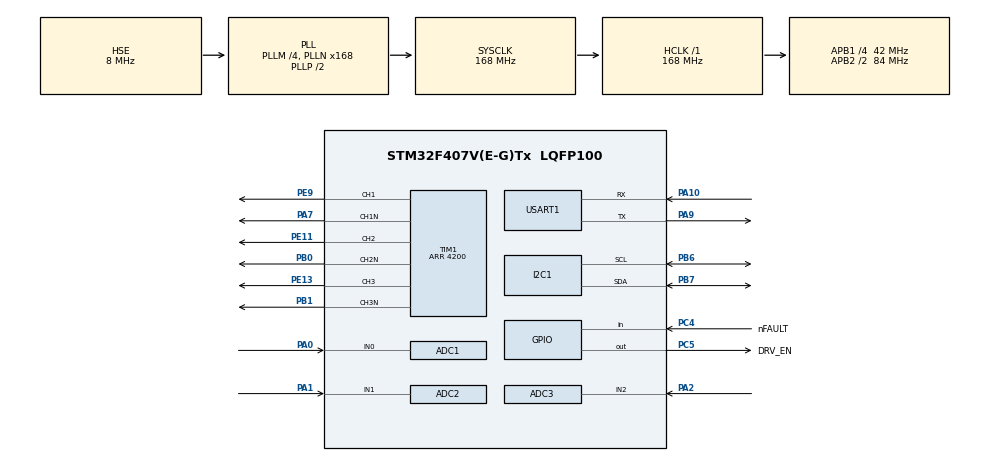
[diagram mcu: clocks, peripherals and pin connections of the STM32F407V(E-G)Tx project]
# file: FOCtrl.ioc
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ADC1.Channel-0\#ChannelRegularConversion=ADC_CHANNEL_0
ADC1.Channel-1\#ChannelInjectedConversion=ADC_CHANNEL_0
ADC1.ExternalTrigInjecConv=ADC_EXTERNALTRIGINJECCONV_T1_CC4
ADC1.InjNumberOfConversion=1
ADC1.InjectedOffset-1\#ChannelInjectedConversion=0
ADC1.InjectedRank-1\#ChannelInjectedConversion=1
ADC1.Mode=ADC_TRIPLEMODE_INJECSIMULT
ADC1.NbrOfConversionFlag=1
ADC1.Rank-0\#ChannelRegularConversion=1
ADC1.SamplingTime-0\#ChannelRegularConversion=ADC_SAMPLETIME_3CYCLES
ADC1.SamplingTime-1\#ChannelInjectedConversion=ADC_SAMPLETIME_15CYCLES
ADC1.master=1
ADC2.Channel-0\#ChannelRegularConversion=ADC_CHANNEL_1
ADC2.Channel-1\#ChannelInjectedConversion=ADC_CHANNEL_1
ADC2.InjNumberOfConversion=1
ADC2.InjectedOffset-1\#ChannelInjectedConversion=0
ADC2.InjectedRank-1\#ChannelInjectedConversion=1
ADC2.Mode=ADC_TRIPLEMODE_INJECSIMULT
ADC2.NbrOfConversionFlag=1
ADC2.Rank-0\#ChannelRegularConversion=1
ADC2.SamplingTime-0\#ChannelRegularConversion=ADC_SAMPLETIME_3CYCLES
ADC2.SamplingTime-1\#ChannelInjectedConversion=ADC_SAMPLETIME_15CYCLES
ADC3.Channel-0\#ChannelRegularConversion=ADC_CHANNEL_2
ADC3.Channel-1\#ChannelInjectedConversion=ADC_CHANNEL_2
ADC3.InjNumberOfConversion=1
ADC3.InjectedOffset-1\#ChannelInjectedConversion=0
ADC3.InjectedRank-1\#ChannelInjectedConversion=1
ADC3.Mode=ADC_TRIPLEMODE_INJECSIMULT
ADC3.NbrOfConversionFlag=1
ADC3.Rank-0\#ChannelRegularConversion=1
ADC3.SamplingTime-0\#ChannelRegularConversion=ADC_SAMPLETIME_3CYCLES
ADC3.SamplingTime-1\#ChannelInjectedConversion=ADC_SAMPLETIME_15CYCLES
Dma.I2C1_RX.0.Direction=DMA_PERIPH_TO_MEMORY
Dma.I2C1_RX.0.FIFOMode=DMA_FIFOMODE_DISABLE
Dma.I2C1_RX.0.Instance=DMA1_Stream0
Dma.I2C1_RX.0.MemDataAlignment=DMA_MDATAALIGN_BYTE
Dma.I2C1_RX.0.MemInc=DMA_MINC_ENABLE
Dma.I2C1_RX.0.Mode=DMA_NORMAL
Dma.I2C1_RX.0.PeriphDataAlignment=DMA_PDATAALIGN_BYTE
Dma.I2C1_RX.0.PeriphInc=DMA_PINC_DISABLE
Dma.I2C1_RX.0.Priority=DMA_PRIORITY_LOW
Dma.Request0=I2C1_RX
I2C1.I2C_Mode=I2C_Fast
Mcu.Family=STM32F4
Mcu.Name=STM32F407V(E-G)Tx
Mcu.Package=LQFP100
NVIC.ADC_IRQn=true\:0\:0\:false\:false\:true\:true\:true\:true
NVIC.DMA1_Stream0_IRQn=true\:0\:0\:false\:false\:true\:false\:true\:true
NVIC.I2C1_ER_IRQn=true\:0\:0\:false\:false\:true\:true\:true\:true
NVIC.I2C1_EV_IRQn=true\:0\:0\:false\:false\:true\:true\:true\:true
NVIC.PriorityGroup=NVIC_PRIORITYGROUP_4
NVIC.TIM1_UP_TIM10_IRQn=true\:1\:0\:true\:false\:true\:true\:true\:true
PA0-WKUP.Signal=ADCx_IN0
PA1.Signal=ADCx_IN1
PA10.Mode=Asynchronous
PA10.Signal=USART1_RX
PA2.Signal=ADCx_IN2
PA7.Mode=PWM Generation1 CH1 CH1N
PA7.Signal=TIM1_CH1N
PA9.Mode=Asynchronous
PA9.Signal=USART1_TX
PB0.Mode=PWM Generation2 CH2 CH2N
PB0.Signal=TIM1_CH2N
PB1.Mode=PWM Generation3 CH3 CH3N
PB1.Signal=TIM1_CH3N
PB6.Mode=I2C
PB6.Signal=I2C1_SCL
PB7.Mode=I2C
PB7.Signal=I2C1_SDA
PC4.GPIO_Label=nFAULT
PC4.Signal=GPIO_Input
PC5.GPIO_Label=DRV_EN
PC5.Signal=GPIO_Output
PE11.Signal=S_TIM1_CH2
PE13.Signal=S_TIM1_CH3
PE9.Signal=S_TIM1_CH1
PH0-OSC_IN.Mode=HSE-External-Oscillator
PH0-OSC_IN.Signal=RCC_OSC_IN
PH1-OSC_OUT.Mode=HSE-External-Oscillator
PH1-OSC_OUT.Signal=RCC_OSC_OUT
ProjectManager.HeapSize=0x200
ProjectManager.StackSize=0x400
ProjectManager.TargetToolchain=CMake
RCC.48MHZClocksFreq_Value=84000000
RCC.AHBFreq_Value=168000000
RCC.APB1CLKDivider=RCC_HCLK_DIV4
RCC.APB1Freq_Value=42000000
RCC.APB1TimFreq_Value=84000000
RCC.APB2CLKDivider=RCC_HCLK_DIV2
RCC.APB2Freq_Value=84000000
RCC.APB2TimFreq_Value=168000000
RCC.CortexFreq_Value=168000000
RCC.EnbaleCSS=true
RCC.HCLKFreq_Value=168000000
RCC.HSE_VALUE=8000000
RCC.HSI_VALUE=16000000
RCC.LSE_VALUE=32768
RCC.PLLM=4
RCC.PLLN=168
RCC.PLLSourceVirtual=RCC_PLLSOURCE_HSE
RCC.SYSCLKFreq_VALUE=168000000
RCC.SYSCLKSource=RCC_SYSCLKSOURCE_PLLCLK
RCC.VCOOutputFreq_Value=336000000
SH.ADCx_IN0.0=ADC1_IN0,IN0
SH.ADCx_IN1.0=ADC2_IN1,IN1
SH.ADCx_IN2.0=ADC3_IN2,IN2
SH.S_TIM1_CH1.0=TIM1_CH1,PWM Generation1 CH1 CH1N
SH.S_TIM1_CH2.0=TIM1_CH2,PWM Generation2 CH2 CH2N
SH.S_TIM1_CH3.0=TIM1_CH3,PWM Generation3 CH3 CH3N
TIM1.AutoReloadPreload=TIM_AUTORELOAD_PRELOAD_ENABLE
TIM1.Channel-PWM\ Generation1\ CH1\ CH1N=TIM_CHANNEL_1
TIM1.Channel-PWM\ Generation2\ CH2\ CH2N=TIM_CHANNEL_2
TIM1.Channel-PWM\ Generation3\ CH3\ CH3N=TIM_CHANNEL_3
TIM1.Channel-PWM\ Generation4\ No\ Output=TIM_CHANNEL_4
TIM1.CounterMode=TIM_COUNTERMODE_CENTERALIGNED1
TIM1.OCMode_PWM-PWM\ Generation4\ No\ Output=TIM_OCMODE_PWM2
TIM1.Period=4200
TIM1.Pulse-PWM\ Generation1\ CH1\ CH1N=2100
TIM1.Pulse-PWM\ Generation2\ CH2\ CH2N=2100
TIM1.Pulse-PWM\ Generation3\ CH3\ CH3N=2100
TIM1.Pulse-PWM\ Generation4\ No\ Output=4100
USART1.VirtualMode=VM_ASYNC
VP_TIM1_VS_ClockSourceINT.Mode=Internal
VP_TIM1_VS_no_output4.Mode=PWM Generation4 No Output
board=custom

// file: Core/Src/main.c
/* USER CODE BEGIN Header */
/**
  ******************************************************************************
  * @file           : main.c
  * @brief          : Main program body
  ******************************************************************************
  * @attention
  *
  * Copyright (c) 2026 STMicroelectronics.
  * All rights reserved.
  *
  * This software is licensed under terms that can be found in the LICENSE file
  * in the root directory of this software component.
  * If no LICENSE file comes with this software, it is provided AS-IS.
  *
  ******************************************************************************
  */
/* USER CODE END Header */
#include "main.h"

/* USER CODE BEGIN Includes */
#include <math.h>
#include <stdio.h>
#include "as5600.h"
#include "foc.h"
/* USER CODE END Includes */

/* USER CODE BEGIN PD */
#define MOTOR_POLE_PAIRS 7
#define CURRENT_LOOP_IQ_REFERENCE_A 0.02f
#define CURRENT_LOOP_ID_REFERENCE_A 0.0f
#define CURRENT_LOOP_Q_KP 0.1633f
#define CURRENT_LOOP_Q_KI 0.0231f
#define CURRENT_LOOP_D_KP 0.1633f
#define CURRENT_LOOP_D_KI 0.0231f
#define VELOCITY_BLOCK_SAMPLES 5U
#define VELOCITY_WINDOW_BLOCKS 10U
/* USER CODE END PD */

ADC_HandleTypeDef hadc1;
ADC_HandleTypeDef hadc2;
ADC_HandleTypeDef hadc3;

I2C_HandleTypeDef hi2c1;
DMA_HandleTypeDef hdma_i2c1_rx;

TIM_HandleTypeDef htim1;

UART_HandleTypeDef huart1;

/* USER CODE BEGIN PV */
FOC_HandleTypeDef foc;

volatile uint8_t foc_update_pending;
volatile uint8_t encoder_read_pending;
static uint8_t tim_divide_count;

static arm_pid_instance_f32 current_q_pi;
static arm_pid_instance_f32 current_d_pi;
static uint8_t current_loop_initialized;

static float32_t velocity;
/* USER CODE END PV */

void SystemClock_Config(void);
static void MX_GPIO_Init(void);
static void MX_DMA_Init(void);
static void MX_TIM1_Init(void);
static void MX_USART1_UART_Init(void);
static void MX_I2C1_Init(void);
static void MX_ADC1_Init(void);
static void MX_ADC2_Init(void);
static void MX_ADC3_Init(void);
/* USER CODE BEGIN PFP */
static void CurrentLoop_Init(void);
static void CurrentLoop_Reset(void);
static void CurrentLoop_Run(void);

static void DWT_Init(void);
/* USER CODE END PFP */

/* USER CODE BEGIN 0 */
static void CurrentLoop_Init(void) {
  current_q_pi.Kp = CURRENT_LOOP_Q_KP;
  current_q_pi.Ki = CURRENT_LOOP_Q_KI;
  current_q_pi.Kd = 0.0f;
  arm_pid_init_f32(&current_q_pi, 1);

  current_d_pi.Kp = CURRENT_LOOP_D_KP;
  current_d_pi.Ki = CURRENT_LOOP_D_KI;
  current_d_pi.Kd = 0.0f;
  arm_pid_init_f32(&current_d_pi, 1);

  current_loop_initialized = 1U;
}

static void CurrentLoop_Reset(void) {
  if (current_loop_initialized == 0U) {
    return;
  }

  arm_pid_reset_f32(&current_q_pi);
  arm_pid_reset_f32(&current_d_pi);
  (void)FOC_SetTarget(&foc, 0.0f, 0.0f);
}

static void CurrentLoop_Run(void) {
  if (current_loop_initialized == 0U) {
    return;
  }
  if (foc.state != FOC_STATE_RUNNING) {
    CurrentLoop_Reset();
    return;
  }

  const float32_t q_error = CURRENT_LOOP_IQ_REFERENCE_A - foc.I_q;
  const float32_t d_error = CURRENT_LOOP_ID_REFERENCE_A - foc.I_d;
  float32_t uq = arm_pid_f32(&current_q_pi, q_error);
  float32_t ud = arm_pid_f32(&current_d_pi, d_error);

  if (!isfinite(uq) || !isfinite(ud)) {
    CurrentLoop_Reset();
    return;
  }

  const float32_t voltage_limit = 0.577350269f * FOC_VOLTAGE_MARGIN;
  const float32_t voltage_magnitude_squared = uq * uq + ud * ud;
  if (voltage_magnitude_squared > voltage_limit * voltage_limit) {
    float32_t voltage_magnitude;
    if (arm_sqrt_f32(voltage_magnitude_squared, &voltage_magnitude) !=
          ARM_MATH_SUCCESS ||
        voltage_magnitude <= 0.0f) {
      CurrentLoop_Reset();
      return;
    }

    const float32_t scale = voltage_limit / voltage_magnitude;
    uq *= scale;
    ud *= scale;
  }

  /* arm_pid_f32 is an incremental controller. Feed the limited command back
   * into its output state so the integrator cannot continue winding up. */
  current_q_pi.state[2] = uq;
  current_d_pi.state[2] = ud;
  (void)FOC_SetTarget(&foc, uq, ud);
}

void DWT_Init(void) {
  CoreDebug->DEMCR |= CoreDebug_DEMCR_TRCENA_Msk;

  DWT->CYCCNT = 0;

  DWT->CTRL |= DWT_CTRL_CYCCNTENA_Msk;
}

/* USER CODE END 0 */

int main(void)
{

  /* MCU Configuration--------------------------------------------------------*/

  /* Reset of all peripherals, Initializes the Flash interface and the Systick. */
  HAL_Init();

  /* Configure the system clock */
  SystemClock_Config();

  /* Initialize all configured peripherals */
  MX_GPIO_Init();
  MX_DMA_Init();
  MX_TIM1_Init();
  MX_USART1_UART_Init();
  MX_I2C1_Init();
  MX_ADC1_Init();
  MX_ADC2_Init();
  MX_ADC3_Init();
  DWT_Init();
  /* USER CODE BEGIN 2 */
  if (FOCInitialize(&foc, &htim1, &hi2c1, &hadc1, &hadc2, &hadc3, 7, DRV_EN_GPIO_Port, DRV_EN_Pin,
    nFAULT_GPIO_Port, nFAULT_Pin) != HAL_OK) {
    printf("Foc Initialize Failed \r\n");
    Error_Handler();
  }
  HAL_TIM_Base_Start_IT(&htim1);
  CurrentLoop_Init();
  FOC_SetTarget(&foc, 0.0f, 0.0f);
  FOC_Start(&foc);
  /* USER CODE END 2 */

  /* Infinite loop */
  while (1)
  {

    /* USER CODE BEGIN 3 */
    if (foc_update_pending) {
      foc_update_pending = 0U;
      FOC_Update(&foc);
    }

    if (encoder_read_pending) {
      encoder_read_pending = 0U;

      if (as5600_trigger(&hi2c1) != HAL_OK) {
        encoder_read_pending = 1U;
      }
    }
  }
  /* USER CODE END 3 */
}

void SystemClock_Config(void)
{
  RCC_OscInitTypeDef RCC_OscInitStruct = {0};
  RCC_ClkInitTypeDef RCC_ClkInitStruct = {0};

  /** Configure the main internal regulator output voltage
  */
  __HAL_RCC_PWR_CLK_ENABLE();
  __HAL_PWR_VOLTAGESCALING_CONFIG(PWR_REGULATOR_VOLTAGE_SCALE1);

  /** Initializes the RCC Oscillators according to the specified parameters
  * in the RCC_OscInitTypeDef structure.
  */
  RCC_OscInitStruct.OscillatorType = RCC_OSCILLATORTYPE_HSE;
  RCC_OscInitStruct.HSEState = RCC_HSE_ON;
  RCC_OscInitStruct.PLL.PLLState = RCC_PLL_ON;
  RCC_OscInitStruct.PLL.PLLSource = RCC_PLLSOURCE_HSE;
  RCC_OscInitStruct.PLL.PLLM = 4;
  RCC_OscInitStruct.PLL.PLLN = 168;
  RCC_OscInitStruct.PLL.PLLP = RCC_PLLP_DIV2;
  RCC_OscInitStruct.PLL.PLLQ = 4;
  if (HAL_RCC_OscConfig(&RCC_OscInitStruct) != HAL_OK)
  {
    Error_Handler();
  }

  /** Initializes the CPU, AHB and APB buses clocks
  */
  RCC_ClkInitStruct.ClockType = RCC_CLOCKTYPE_HCLK|RCC_CLOCKTYPE_SYSCLK
                              |RCC_CLOCKTYPE_PCLK1|RCC_CLOCKTYPE_PCLK2;
  RCC_ClkInitStruct.SYSCLKSource = RCC_SYSCLKSOURCE_PLLCLK;
  RCC_ClkInitStruct.AHBCLKDivider = RCC_SYSCLK_DIV1;
  RCC_ClkInitStruct.APB1CLKDivider = RCC_HCLK_DIV4;
  RCC_ClkInitStruct.APB2CLKDivider = RCC_HCLK_DIV2;

  if (HAL_RCC_ClockConfig(&RCC_ClkInitStruct, FLASH_LATENCY_5) != HAL_OK)
  {
    Error_Handler();
  }

  /** Enables the Clock Security System
  */
  HAL_RCC_EnableCSS();
}

static void MX_ADC1_Init(void)
{

  ADC_MultiModeTypeDef multimode = {0};
  ADC_ChannelConfTypeDef sConfig = {0};
  ADC_InjectionConfTypeDef sConfigInjected = {0};

  /** Configure the global features of the ADC (Clock, Resolution, Data Alignment and number of conversion)
  */
  hadc1.Instance = ADC1;
  hadc1.Init.ClockPrescaler = ADC_CLOCK_SYNC_PCLK_DIV4;
  hadc1.Init.Resolution = ADC_RESOLUTION_12B;
  hadc1.Init.ScanConvMode = DISABLE;
  hadc1.Init.ContinuousConvMode = DISABLE;
  hadc1.Init.DiscontinuousConvMode = DISABLE;
  hadc1.Init.ExternalTrigConvEdge = ADC_EXTERNALTRIGCONVEDGE_NONE;
  hadc1.Init.ExternalTrigConv = ADC_SOFTWARE_START;
  hadc1.Init.DataAlign = ADC_DATAALIGN_RIGHT;
  hadc1.Init.NbrOfConversion = 1;
  hadc1.Init.DMAContinuousRequests = DISABLE;
  hadc1.Init.EOCSelection = ADC_EOC_SINGLE_CONV;
  if (HAL_ADC_Init(&hadc1) != HAL_OK)
  {
    Error_Handler();
  }

  /** Configure the ADC multi-mode
  */
  multimode.Mode = ADC_TRIPLEMODE_INJECSIMULT;
  multimode.TwoSamplingDelay = ADC_TWOSAMPLINGDELAY_5CYCLES;
  if (HAL_ADCEx_MultiModeConfigChannel(&hadc1, &multimode) != HAL_OK)
  {
    Error_Handler();
  }

  /** Configure for the selected ADC regular channel its corresponding rank in the sequencer and its sample time.
  */
  sConfig.Channel = ADC_CHANNEL_0;
  sConfig.Rank = 1;
  sConfig.SamplingTime = ADC_SAMPLETIME_3CYCLES;
  if (HAL_ADC_ConfigChannel(&hadc1, &sConfig) != HAL_OK)
  {
    Error_Handler();
  }

  /** Configures for the selected ADC injected channel its corresponding rank in the sequencer and its sample time
  */
  sConfigInjected.InjectedChannel = ADC_CHANNEL_0;
  sConfigInjected.InjectedRank = 1;
  sConfigInjected.InjectedNbrOfConversion = 1;
  sConfigInjected.InjectedSamplingTime = ADC_SAMPLETIME_15CYCLES;
  sConfigInjected.ExternalTrigInjecConvEdge = ADC_EXTERNALTRIGINJECCONVEDGE_RISING;
  sConfigInjected.ExternalTrigInjecConv = ADC_EXTERNALTRIGINJECCONV_T1_CC4;
  sConfigInjected.AutoInjectedConv = DISABLE;
  sConfigInjected.InjectedDiscontinuousConvMode = DISABLE;
  sConfigInjected.InjectedOffset = 0;
  if (HAL_ADCEx_InjectedConfigChannel(&hadc1, &sConfigInjected) != HAL_OK)
  {
    Error_Handler();
  }

}

static void MX_ADC2_Init(void)
{

  ADC_ChannelConfTypeDef sConfig = {0};
  ADC_InjectionConfTypeDef sConfigInjected = {0};

  /** Configure the global features of the ADC (Clock, Resolution, Data Alignment and number of conversion)
  */
  hadc2.Instance = ADC2;
  hadc2.Init.ClockPrescaler = ADC_CLOCK_SYNC_PCLK_DIV4;
  hadc2.Init.Resolution = ADC_RESOLUTION_12B;
  hadc2.Init.ScanConvMode = DISABLE;
  hadc2.Init.ContinuousConvMode = DISABLE;
  hadc2.Init.DiscontinuousConvMode = DISABLE;
  hadc2.Init.DataAlign = ADC_DATAALIGN_RIGHT;
  hadc2.Init.NbrOfConversion = 1;
  hadc2.Init.DMAContinuousRequests = DISABLE;
  hadc2.Init.EOCSelection = ADC_EOC_SINGLE_CONV;
  if (HAL_ADC_Init(&hadc2) != HAL_OK)
  {
    Error_Handler();
  }

  /** Configure for the selected ADC regular channel its corresponding rank in the sequencer and its sample time.
  */
  sConfig.Channel = ADC_CHANNEL_1;
  sConfig.Rank = 1;
  sConfig.SamplingTime = ADC_SAMPLETIME_3CYCLES;
  if (HAL_ADC_ConfigChannel(&hadc2, &sConfig) != HAL_OK)
  {
    Error_Handler();
  }

  /** Configures for the selected ADC injected channel its corresponding rank in the sequencer and its sample time
  */
  sConfigInjected.InjectedChannel = ADC_CHANNEL_1;
  sConfigInjected.InjectedRank = 1;
  sConfigInjected.InjectedNbrOfConversion = 1;
  sConfigInjected.InjectedSamplingTime = ADC_SAMPLETIME_15CYCLES;
  sConfigInjected.AutoInjectedConv = ENABLE;
  sConfigInjected.InjectedDiscontinuousConvMode = DISABLE;
  sConfigInjected.InjectedOffset = 0;
  if (HAL_ADCEx_InjectedConfigChannel(&hadc2, &sConfigInjected) != HAL_OK)
  {
    Error_Handler();
  }

}

static void MX_ADC3_Init(void)
{

  ADC_ChannelConfTypeDef sConfig = {0};
  ADC_InjectionConfTypeDef sConfigInjected = {0};

  /** Configure the global features of the ADC (Clock, Resolution, Data Alignment and number of conversion)
  */
  hadc3.Instance = ADC3;
  hadc3.Init.ClockPrescaler = ADC_CLOCK_SYNC_PCLK_DIV4;
  hadc3.Init.Resolution = ADC_RESOLUTION_12B;
  hadc3.Init.ScanConvMode = DISABLE;
  hadc3.Init.ContinuousConvMode = DISABLE;
  hadc3.Init.DiscontinuousConvMode = DISABLE;
  hadc3.Init.DataAlign = ADC_DATAALIGN_RIGHT;
  hadc3.Init.NbrOfConversion = 1;
  hadc3.Init.DMAContinuousRequests = DISABLE;
  hadc3.Init.EOCSelection = ADC_EOC_SINGLE_CONV;
  if (HAL_ADC_Init(&hadc3) != HAL_OK)
  {
    Error_Handler();
  }

  /** Configure for the selected ADC regular channel its corresponding rank in the sequencer and its sample time.
  */
  sConfig.Channel = ADC_CHANNEL_2;
  sConfig.Rank = 1;
  sConfig.SamplingTime = ADC_SAMPLETIME_3CYCLES;
  if (HAL_ADC_ConfigChannel(&hadc3, &sConfig) != HAL_OK)
  {
    Error_Handler();
  }

  /** Configures for the selected ADC injected channel its corresponding rank in the sequencer and its sample time
  */
  sConfigInjected.InjectedChannel = ADC_CHANNEL_2;
  sConfigInjected.InjectedRank = 1;
  sConfigInjected.InjectedNbrOfConversion = 1;
  sConfigInjected.InjectedSamplingTime = ADC_SAMPLETIME_15CYCLES;
  sConfigInjected.AutoInjectedConv = ENABLE;
  sConfigInjected.InjectedDiscontinuousConvMode = DISABLE;
  sConfigInjected.InjectedOffset = 0;
  if (HAL_ADCEx_InjectedConfigChannel(&hadc3, &sConfigInjected) != HAL_OK)
  {
    Error_Handler();
  }

}

static void MX_I2C1_Init(void)
{

  hi2c1.Instance = I2C1;
  hi2c1.Init.ClockSpeed = 400000;
  hi2c1.Init.DutyCycle = I2C_DUTYCYCLE_2;
  hi2c1.Init.OwnAddress1 = 0;
  hi2c1.Init.AddressingMode = I2C_ADDRESSINGMODE_7BIT;
  hi2c1.Init.DualAddressMode = I2C_DUALADDRESS_DISABLE;
  hi2c1.Init.OwnAddress2 = 0;
  hi2c1.Init.GeneralCallMode = I2C_GENERALCALL_DISABLE;
  hi2c1.Init.NoStretchMode = I2C_NOSTRETCH_DISABLE;
  if (HAL_I2C_Init(&hi2c1) != HAL_OK)
  {
    Error_Handler();
  }

}

static void MX_TIM1_Init(void)
{

  TIM_ClockConfigTypeDef sClockSourceConfig = {0};
  TIM_MasterConfigTypeDef sMasterConfig = {0};
  TIM_OC_InitTypeDef sConfigOC = {0};
  TIM_BreakDeadTimeConfigTypeDef sBreakDeadTimeConfig = {0};

  htim1.Instance = TIM1;
  htim1.Init.Prescaler = 0;
  htim1.Init.CounterMode = TIM_COUNTERMODE_CENTERALIGNED1;
  htim1.Init.Period = 4200;
  htim1.Init.ClockDivision = TIM_CLOCKDIVISION_DIV1;
  htim1.Init.RepetitionCounter = 0;
  htim1.Init.AutoReloadPreload = TIM_AUTORELOAD_PRELOAD_ENABLE;
  if (HAL_TIM_Base_Init(&htim1) != HAL_OK)
  {
    Error_Handler();
  }
  sClockSourceConfig.ClockSource = TIM_CLOCKSOURCE_INTERNAL;
  if (HAL_TIM_ConfigClockSource(&htim1, &sClockSourceConfig) != HAL_OK)
  {
    Error_Handler();
  }
  if (HAL_TIM_PWM_Init(&htim1) != HAL_OK)
  {
    Error_Handler();
  }
  sMasterConfig.MasterOutputTrigger = TIM_TRGO_RESET;
  sMasterConfig.MasterSlaveMode = TIM_MASTERSLAVEMODE_DISABLE;
  if (HAL_TIMEx_MasterConfigSynchronization(&htim1, &sMasterConfig) != HAL_OK)
  {
    Error_Handler();
  }
  sConfigOC.OCMode = TIM_OCMODE_PWM1;
  sConfigOC.Pulse = 2100;
  sConfigOC.OCPolarity = TIM_OCPOLARITY_HIGH;
  sConfigOC.OCNPolarity = TIM_OCNPOLARITY_HIGH;
  sConfigOC.OCFastMode = TIM_OCFAST_DISABLE;
  sConfigOC.OCIdleState = TIM_OCIDLESTATE_RESET;
  sConfigOC.OCNIdleState = TIM_OCNIDLESTATE_RESET;
  if (HAL_TIM_PWM_ConfigChannel(&htim1, &sConfigOC, TIM_CHANNEL_1) != HAL_OK)
  {
    Error_Handler();
  }
  if (HAL_TIM_PWM_ConfigChannel(&htim1, &sConfigOC, TIM_CHANNEL_2) != HAL_OK)
  {
    Error_Handler();
  }
  if (HAL_TIM_PWM_ConfigChannel(&htim1, &sConfigOC, TIM_CHANNEL_3) != HAL_OK)
  {
    Error_Handler();
  }
  sConfigOC.OCMode = TIM_OCMODE_PWM2;
  sConfigOC.Pulse = 4100;
  if (HAL_TIM_PWM_ConfigChannel(&htim1, &sConfigOC, TIM_CHANNEL_4) != HAL_OK)
  {
    Error_Handler();
  }
  sBreakDeadTimeConfig.OffStateRunMode = TIM_OSSR_DISABLE;
  sBreakDeadTimeConfig.OffStateIDLEMode = TIM_OSSI_DISABLE;
  sBreakDeadTimeConfig.LockLevel = TIM_LOCKLEVEL_OFF;
  sBreakDeadTimeConfig.DeadTime = 0;
  sBreakDeadTimeConfig.BreakState = TIM_BREAK_DISABLE;
  sBreakDeadTimeConfig.BreakPolarity = TIM_BREAKPOLARITY_HIGH;
  sBreakDeadTimeConfig.AutomaticOutput = TIM_AUTOMATICOUTPUT_DISABLE;
  if (HAL_TIMEx_ConfigBreakDeadTime(&htim1, &sBreakDeadTimeConfig) != HAL_OK)
  {
    Error_Handler();
  }
  HAL_TIM_MspPostInit(&htim1);

}

static void MX_USART1_UART_Init(void)
{

  huart1.Instance = USART1;
  huart1.Init.BaudRate = 115200;
  huart1.Init.WordLength = UART_WORDLENGTH_8B;
  huart1.Init.StopBits = UART_STOPBITS_1;
  huart1.Init.Parity = UART_PARITY_NONE;
  huart1.Init.Mode = UART_MODE_TX_RX;
  huart1.Init.HwFlowCtl = UART_HWCONTROL_NONE;
  huart1.Init.OverSampling = UART_OVERSAMPLING_16;
  if (HAL_UART_Init(&huart1) != HAL_OK)
  {
    Error_Handler();
  }

}

static void MX_DMA_Init(void)
{

  /* DMA controller clock enable */
  __HAL_RCC_DMA1_CLK_ENABLE();

  /* DMA interrupt init */
  /* DMA1_Stream0_IRQn interrupt configuration */
  HAL_NVIC_SetPriority(DMA1_Stream0_IRQn, 0, 0);
  HAL_NVIC_EnableIRQ(DMA1_Stream0_IRQn);

}

static void MX_GPIO_Init(void)
{
  GPIO_InitTypeDef GPIO_InitStruct = {0};

  /* GPIO Ports Clock Enable */
  __HAL_RCC_GPIOH_CLK_ENABLE();
  __HAL_RCC_GPIOA_CLK_ENABLE();
  __HAL_RCC_GPIOC_CLK_ENABLE();
  __HAL_RCC_GPIOB_CLK_ENABLE();
  __HAL_RCC_GPIOE_CLK_ENABLE();

  /*Configure GPIO pin Output Level */
  HAL_GPIO_WritePin(DRV_EN_GPIO_Port, DRV_EN_Pin, GPIO_PIN_RESET);

  /*Configure GPIO pin : nFAULT_Pin */
  GPIO_InitStruct.Pin = nFAULT_Pin;
  GPIO_InitStruct.Mode = GPIO_MODE_INPUT;
  GPIO_InitStruct.Pull = GPIO_NOPULL;
  HAL_GPIO_Init(nFAULT_GPIO_Port, &GPIO_InitStruct);

  /*Configure GPIO pin : DRV_EN_Pin */
  GPIO_InitStruct.Pin = DRV_EN_Pin;
  GPIO_InitStruct.Mode = GPIO_MODE_OUTPUT_PP;
  GPIO_InitStruct.Pull = GPIO_NOPULL;
  GPIO_InitStruct.Speed = GPIO_SPEED_FREQ_LOW;
  HAL_GPIO_Init(DRV_EN_GPIO_Port, &GPIO_InitStruct);

}

/* USER CODE BEGIN 4 */
int __io_putchar(int ch)
{
  uint8_t data = (uint8_t)ch;

  HAL_UART_Transmit(&huart1, &data, 1, HAL_MAX_DELAY);

  return ch;
}

void HAL_ADCEx_InjectedConvCpltCallback(ADC_HandleTypeDef *hadc) {
  if (hadc == NULL || hadc->Instance != ADC1) {
    return;
  }
  uint32_t raw_current_u = HAL_ADCEx_InjectedGetValue(&hadc1, ADC_INJECTED_RANK_1);
  uint32_t raw_current_v = HAL_ADCEx_InjectedGetValue(&hadc2, ADC_INJECTED_RANK_1);
  uint32_t raw_current_w = HAL_ADCEx_InjectedGetValue(&hadc3, ADC_INJECTED_RANK_1);
  if (FOC_CurrentSample(&foc, raw_current_u, raw_current_v, raw_current_w) == HAL_OK) {
    CurrentLoop_Run();
  } else {
    CurrentLoop_Reset();
  }
}

void HAL_I2C_MasterRxCpltCallback(I2C_HandleTypeDef *hi2c) {
  if (hi2c == NULL || hi2c->Instance != I2C1) {
    return;
  }

  float32_t magnitude_angle;
  static float32_t delta_angle_sum;
  static float32_t last_angle;
  static float32_t delta_angle_history[VELOCITY_WINDOW_BLOCKS];
  static float32_t window_delta_angle;
  static uint32_t cycle_history[VELOCITY_WINDOW_BLOCKS];
  static uint32_t window_cycles;
  static uint32_t cycnt_start;
  static uint8_t velocity_sample_cnt;
  static uint8_t window_index;
  static uint8_t window_count;
  static uint8_t velocity_initialized;
  static uint32_t sample_cycles;
  if (as5600_callback(&magnitude_angle) != HAL_OK) {
    return;
  }
  (void)FOC_EncoderCallback(&foc, magnitude_angle);

  if (!velocity_initialized) {
    cycnt_start = DWT->CYCCNT;
    last_angle = magnitude_angle;
    velocity_sample_cnt = 0;
    velocity_initialized = 1;
    return;
  }

  float32_t delta_angle = magnitude_angle - last_angle;
  last_angle = magnitude_angle;
  if (delta_angle > PI) {
    delta_angle -= 2.0f * PI;
  } else if (delta_angle < -PI) {
    delta_angle += 2.0f * PI;
  }

  delta_angle_sum += delta_angle;
  velocity_sample_cnt++;
  if (velocity_sample_cnt >= VELOCITY_BLOCK_SAMPLES) {
    const uint32_t cycnt_now = DWT->CYCCNT;
    sample_cycles = cycnt_now - cycnt_start;

    window_delta_angle -= delta_angle_history[window_index];
    window_cycles -= cycle_history[window_index];

    delta_angle_history[window_index] = delta_angle_sum;
    cycle_history[window_index] = sample_cycles;
    window_delta_angle += delta_angle_sum;
    window_cycles += sample_cycles;

    if (++window_index >= VELOCITY_WINDOW_BLOCKS) {
      window_index = 0U;
    }
    if (window_count < VELOCITY_WINDOW_BLOCKS) {
      ++window_count;
    }
    if (window_count == VELOCITY_WINDOW_BLOCKS) {
      velocity = window_delta_angle *
        (float32_t)SystemCoreClock *
          60.0f /
          (2.0f * PI * (float32_t)window_cycles);
    }

    delta_angle_sum = 0.0f;
    velocity_sample_cnt = 0U;
    cycnt_start = cycnt_now;
  }
}

void HAL_TIM_PeriodElapsedCallback(TIM_HandleTypeDef *htim) {
  if (htim == NULL || htim->Instance != TIM1) {
    return;
  }
  if (__HAL_TIM_IS_TIM_COUNTING_DOWN(htim)) {
    return;
  }
  ++tim_divide_count;
  foc_update_pending = 1U;
  if (tim_divide_count >= 4U) {
    tim_divide_count = 0U;
    encoder_read_pending = 1U;
  }
}
/* USER CODE END 4 */

void Error_Handler(void)
{
  __disable_irq();
  while (1)
  {
  }
}
